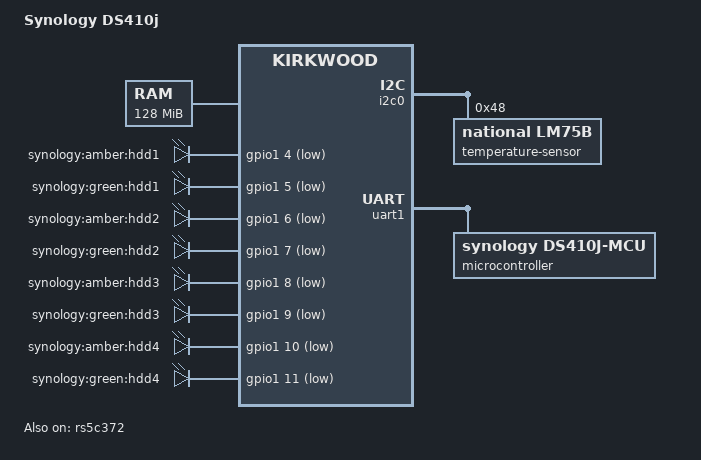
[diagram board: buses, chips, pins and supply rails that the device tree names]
// SPDX-License-Identifier: GPL-2.0
/*
 * Synology DS410j (Marvell Kirkwood 88F6281)
 *
 * Mainline has no DS410j board file. kirkwood-ds409.dts declares
 * "synology,ds410j" in its compatible list and does boot this board, but it
 * describes a DS409, and three of the differences are not cosmetic. Everything
 * asserted here was measured on the hardware - see PORTING.md 7.1.
 *
 * 1. The bay LEDs have their colours swapped, and there are four bays, not five.
 *    Walking every LED in kirkwood-synology.dtsi's gpio-leds-hdd-36 node with
 *    two drives fitted, in bays 2 and 4, gave:
 *
 *      DT name            physical lamp        DT name            physical lamp
 *      green:hdd1   ->    amber, bay 1         amber:hdd1   ->    (nothing)
 *      green:hdd2   ->    amber, bay 2         amber:hdd2   ->    green, bay 2
 *      green:hdd3   ->    amber, bay 3         amber:hdd3   ->    (nothing)
 *      green:hdd4   ->    amber, bay 4         amber:hdd4   ->    green, bay 4
 *
 *    Behaviour of the two pins of a bay, all four combinations [CONFIRMED]:
 *
 *      even pin (36/38/40/42) high, odd low   ->  AMBER, always
 *      odd  pin (37/39/41/43) high, even low  ->  GREEN, but only if a drive
 *                                                 is fitted; empty bay stays dark
 *      both high                              ->  DARK
 *      both low                               ->  DARK
 *
 *    So they are NOT two independent lamps - two independent LEDs both driven
 *    would light, not go dark. It behaves as one bi-colour LED wired
 *    anti-parallel, with the green direction's return path additionally routed
 *    through the drive connector [LIKELY mechanism]: current one way is amber,
 *    the other way is green, equal levels put no potential across it, and with
 *    no drive the green path is simply open.
 *
 *    Two consequences for anything driving these pins. First, never set both:
 *    there is no DT binding that can express the constraint, so gpio-leds cannot
 *    enforce it and nixos/ds410j-fan-control.sh keeps them mutually exclusive by
 *    hand. Second, amber is the only colour available for an EMPTY bay, which is
 *    what makes "expected drive missing" expressible at all.
 *
 *    GPIO 44/45 (mainline's hdd5 pair) were tested and light nothing - this
 *    chassis has four bays.
 *
 * 2. gpio-fan-150-15-18 cannot probe as written. It carries
 *    alarm-gpios = <&gpio0 18>, and gpio_fan_get_of_data() requests that with
 *    GPIOD_IN, but pmx_fanalarm_18 muxes MPP18 as "gpo" and MPP18 on the
 *    88F6281 has no "gpio" function at all - only "gpo" (pinctrl-kirkwood.c,
 *    MPP_MODE(18)). mvebu_gpio_set_direction() therefore returns -ENOTSUPP
 *    (-524) and the whole probe fails, taking fan control with it. The alarm
 *    line is unreadable on this SoC, so the property has to go rather than be
 *    corrected. The failure happens before fan_ctrl_init(), which is why the
 *    fan keeps whatever speed the bootloader left rather than stopping.
 *
 * 3. kirkwood-synology.dtsi enables the SoC's own sata@80000 with nr-ports = <2>
 *    and ds409.dts enables eth1. Both are wrong here: the four bays are behind a
 *    PCIe 88SX7042, the SoC ports are unpopulated, and ethphy1 (MDIO addr 9) is
 *    absent. They also collide - pmx_sata0 and pmx_ge1 both want MPP21 - which
 *    is the "pin PIN21 already requested by f1076000.ethernet-controller"
 *    message on every boot.
 *
 *
 * The front-panel buttons are deliberately NOT described here, and that is a
 * finding rather than an omission: they are not GPIOs at all. Holding power for
 * ~4 s makes the board MCU send one byte, 0x30, on UART1; a short press sends
 * nothing. See the &uart1 node at the bottom of this file, and PORTING.md 7.1.
 *
 * Recorded so nobody repeats it: a GPIO search for these buttons is a dead end.
 * Fourteen candidate pins were claimed by a gpio-keys node here and every one
 * came back negative. The pins were only ever readable because that node forced
 * them to input - gpioinfo reports nearly every line as an OUTPUT, so gpioget
 * otherwise reads the output latch rather than the pad, which is what made an
 * earlier round look conclusive when it was not. None of that scaffolding is
 * needed now and none of it is left in this file.
 *
 * Not fixed here, and not fixable here: the alarm/status and power lamps.
 * kirkwood-synology.dtsi's gpio-leds-alarm-12 node is spurious on this model -
 * neither the GPIO its pinctrl selects (MPP12) nor the one its gpios property
 * names (GPIO 21) lights anything, and DSM's ds410j_synobios.ko implements
 * SetAlarmLed, SetPowerLedStatus, SetHDDActLed and SetPhyLed as bare
 * "mov r0,#0; bx lr" stubs. So the node is disabled.
 *
 * That does NOT mean those lamps are uncontrollable - only that they are not on
 * a GPIO and so cannot be described by gpio-leds. They are driven by the
 * board's microcontroller over UART1 (serial@12100, 9600 8N1), the same MCU
 * mainline already pokes for power-off. DSM's own
 * /usr/syno/share/synogrinst/grinst-common.sh documents the status-LED codes:
 *
 *      static  blink
 *      green      8      9
 *      orange     :      ;      anything else = off, DSM uses 7
 *
 * (and qnap-poweroff.c contributes '1' = power off). Driving that belongs in a
 * driver or in userspace, not in this file - see PORTING.md 7.1.
 */

/dts-v1/;

#include "kirkwood.dtsi"
#include "kirkwood-6281.dtsi"
#include "kirkwood-synology.dtsi"

/ {
	model = "Synology DS410j";
	compatible = "synology,ds410j", "marvell,kirkwood";

	memory {
		device_type = "memory";
		reg = <0x00000000 0x8000000>;
	};

	chosen {
		bootargs = "console=ttyS0,115200n8";
		stdout-path = &uart0;
	};

	gpio-fan-150-15-18 {
		status = "okay";

		/* See note 2. Keep pmx_fanalarm_18 in pinctrl-0 so MPP18 still
		 * lands in a defined state; only the unusable input goes. */
		/delete-property/ alarm-gpios;

		/* Lets a thermal zone bind the fan as a cooling device. Paired
		 * with #thermal-sensor-cells on the LM75 at the bottom of this
		 * file, in-kernel thermal control of the fan is possible - see
		 * that node's comment. Nothing declares a zone yet: the fan is
		 * still steered from userspace by ds410j-fan-control.sh, which
		 * reads both the board sensor and per-drive temperatures. */
		#cooling-cells = <2>;
	};

	/* Replaces gpio-leds-hdd-36, which stays disabled. Same GPIOs, colours
	 * the right way round, and no fifth bay. Deliberately carries no
	 * linux,default-trigger: a device tree describes hardware, and which
	 * trigger each lamp runs is policy, set from NixOS. */
	gpio-leds-ds410j-hdd {
		compatible = "gpio-leds";
		pinctrl-0 = <&pmx_hddled_36 &pmx_hddled_37 &pmx_hddled_38
			     &pmx_hddled_39 &pmx_hddled_40 &pmx_hddled_41
			     &pmx_hddled_42 &pmx_hddled_43>;
		pinctrl-names = "default";

		led-hdd1-amber {
			label = "synology:amber:hdd1";
			gpios = <&gpio1 4 GPIO_ACTIVE_LOW>;
		};

		led-hdd1-green {
			label = "synology:green:hdd1";
			gpios = <&gpio1 5 GPIO_ACTIVE_LOW>;
		};

		led-hdd2-amber {
			label = "synology:amber:hdd2";
			gpios = <&gpio1 6 GPIO_ACTIVE_LOW>;
		};

		led-hdd2-green {
			label = "synology:green:hdd2";
			gpios = <&gpio1 7 GPIO_ACTIVE_LOW>;
		};

		led-hdd3-amber {
			label = "synology:amber:hdd3";
			gpios = <&gpio1 8 GPIO_ACTIVE_LOW>;
		};

		led-hdd3-green {
			label = "synology:green:hdd3";
			gpios = <&gpio1 9 GPIO_ACTIVE_LOW>;
		};

		led-hdd4-amber {
			label = "synology:amber:hdd4";
			gpios = <&gpio1 10 GPIO_ACTIVE_LOW>;
		};

		led-hdd4-green {
			label = "synology:green:hdd4";
			gpios = <&gpio1 11 GPIO_ACTIVE_LOW>;
		};
	};
};

/* See note 1. */
&{/gpio-leds-hdd-36} {
	status = "disabled";
};

/* See note 3. Unpopulated on this chassis, and pmx_sata0 claims MPP21, which
 * pmx_ge1 also wants. */
&sata {
	status = "disabled";
};

/* See note 3. ethphy1 is absent; the wired port is eth0. Left explicit because
 * ds409.dts enables it and this is the deliberate difference. Without this the
 * device sits in deferred probe forever - mv643xx_eth_port.1 in
 * /sys/kernel/debug/devices_deferred. */
&eth1 {
	status = "disabled";
};

/* Ricoh RS5C372A on i2c@11000, keeps time across power cycles. */
&rs5c372 {
	status = "okay";
};

/*
 * Board temperature sensor - an LM75-compatible part at I2C 0x48, sharing the
 * bus with the RTC.
 *
 * This board was believed to have no temperature sensor at all for the whole
 * project; PORTING.md said so in two places and it drove real decisions (it is
 * why fan control reads drive temperatures via CONFIG_SENSORS_DRIVETEMP, and why
 * 3.3 claimed the kernel thermal framework was unusable here because there was
 * "nothing for a thermal zone to read"). That was wrong.
 *
 * Found by reading DSM: ds410j_synobios.ko's GetSysTemperature is implemented,
 * not stubbed, and does
 *      mov r0, #0x48 ; mov r2, #2 ; bl mvI2CCharRead
 * then byte-swaps and shifts right by 7 - the textbook LM75 conversion. 0x48 is
 * the canonical LM75 address. i2cdetect confirmed a device there, and binding
 * the driver produced a live reading.
 *
 * Why lm75b rather than lm75 or lm75a: those are 9-bit in the Linux driver
 * (0.5 C), lm75b is 11-bit (0.125 C). A 9-bit part can only ever set bit 7 of
 * the LSB, but a forced raw read of register 0 returned lsb=0xa0 - bit 5 set,
 * i.e. 0.5 + 0.125. Typed as "lm75" it reported 47500; typed as "lm75b",
 * 47750. So the extra resolution is real and 9-bit typing silently truncates it.
 * (DSM truncates too - its >>7 keeps only 9 bits.)
 *
 * The exact part number is [VERIFY] - it needs the markings on the chip. What is
 * established is that it is LM75-register-compatible with at least 11-bit
 * resolution, which is what the compatible string has to get right.
 *
 * #thermal-sensor-cells is what lets a thermal zone bind this as a sensor; the
 * lm75 driver passes HWMON_C_REGISTER_TZ, so the hwmon core registers it. Paired
 * with the #cooling-cells = <2> on gpio-fan above, in-kernel thermal control of
 * the fan is now possible - which 3.3 said it could never be.
 */
&i2c0 {
	temperature-sensor@48 {
		compatible = "national,lm75b";
		reg = <0x48>;
		#thermal-sensor-cells = <0>;
	};
};

/*
 * Delete mainline's stand-alone power-off node.
 *
 * kirkwood-synology.dtsi declares poweroff@12100 with compatible
 * "synology,power-off" for drivers/power/reset/qnap-poweroff.c, which maps the
 * UART registers itself and writes '1'. It works, but it is a second node at
 * the same unit address as serial@12100, which is what makes dtc warn:
 *
 *   /ocp@f1000000/serial@12100: duplicate unit-address
 *       (also used in node /ocp@f1000000/poweroff@12100)
 *
 * Now that synology-mcu owns this MCU it should own power-off too, rather than
 * leaving half the channel to another driver through a duplicate node. The
 * driver registers a SYS_OFF_MODE_POWER_OFF handler that pokes the UART
 * directly, exactly as qnap-poweroff did.
 *
 * CONSEQUENCE, and it is worth stating plainly: with this node gone, if
 * synology-mcu does not load then nothing can cut the board's power.
 * "systemctl poweroff" would halt the kernel with the box still running. That
 * is recoverable - pull the plug - but it is a real regression if the module
 * ever fails to build or bind.
 */
/ {
	ocp@f1000000 {
		/delete-node/ poweroff@12100;
	};
};

/*
 * The board microcontroller, as a serdev client rather than a bare tty.
 *
 * UART1 is already enabled by kirkwood-synology.dtsi (and mainline's
 * qnap-poweroff binds a separate "synology,power-off" node over the same
 * registers to send '1' at shutdown - that is independent of this and must keep
 * working). Declaring a child node here hands the port to the serdev bus, so
 * nixos/synology-mcu binds it and /dev/ttyS1 stops existing. That is the point:
 * the front-panel buttons are not GPIOs, they arrive as single bytes on this
 * UART, and a driver can turn them into real input events. See PORTING.md 7.1.
 *
 * The compatible is local, not an upstream binding.
 */
&uart1 {
	status = "okay";

	microcontroller {
		compatible = "synology,ds410j-mcu";
		current-speed = <9600>;
	};
};

/*
 * eth0's MAC is deliberately NOT set here. The stock loader's vendor partition
 * (mtd3) holds 00:11:32:02:f9:a6 and our U-Boot passes it in via the ethernet0
 * alias, which is both correct for any DS410j and the only version of this that
 * could go upstream. Verified: eth0 comes up with the vendor MAC, not the
 * 00:00:5f:ff:00:00 fallback.
 */
